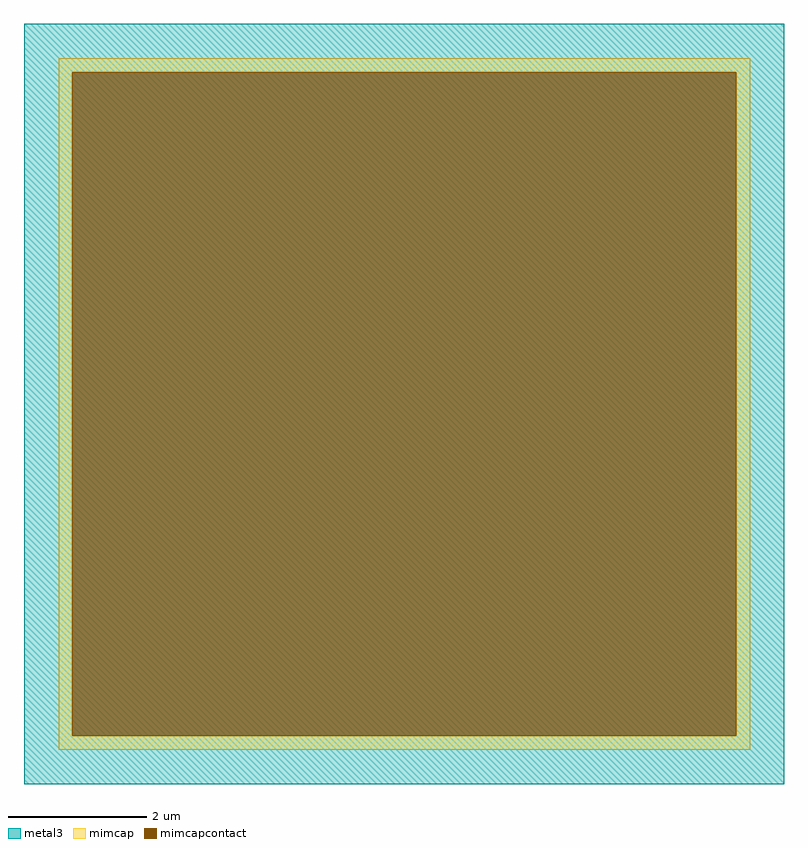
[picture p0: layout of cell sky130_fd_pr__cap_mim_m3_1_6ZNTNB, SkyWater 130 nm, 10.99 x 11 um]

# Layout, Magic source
magic
tech sky130A
<< metal3 >>
rect -575 -550 524 550
<< mimcap >>
rect -525 480 475 500
rect -525 -480 -505 480
rect 455 -480 475 480
rect -525 -500 475 -480
<< mimcapcontact >>
rect -505 -480 455 480
<< properties >>
string FIXED_BBOX -575 -550 525 550
string gencell sky130_fd_pr__cap_mim_m3_1
string library sky130
string parameters w 10 l 10 val 207.6 carea 2.00 cperi 0.19 nx 1 ny 1 dummy 0 square 0 lmin 2.00 wmin 2.00 lmax 30.0 wmax 30.0 dc 0 bconnect 1 tconnect 1 ccov 100
<< end >>
